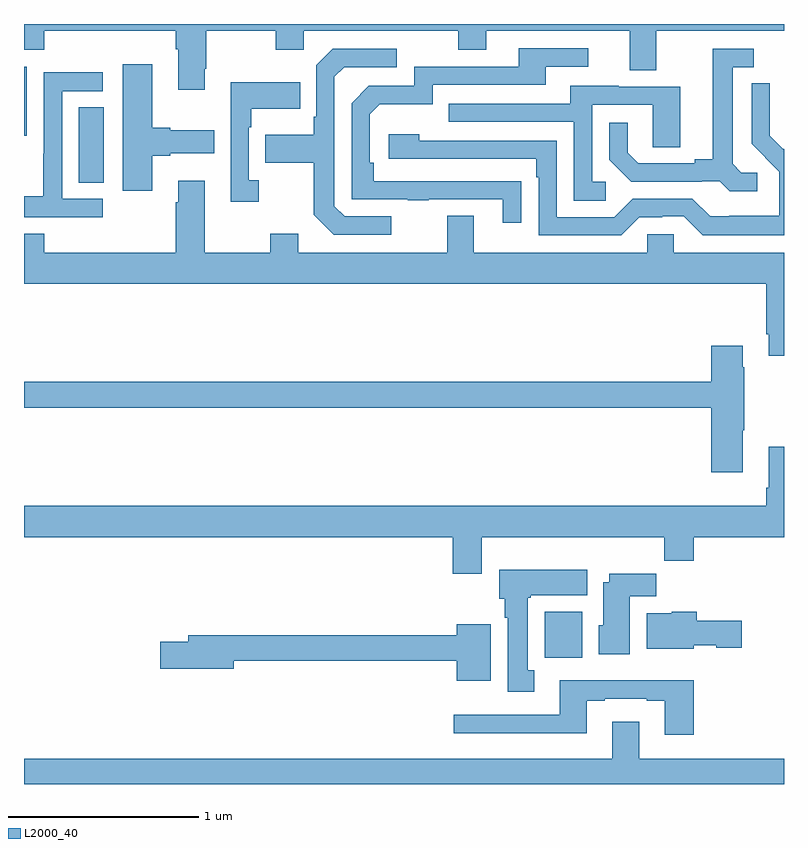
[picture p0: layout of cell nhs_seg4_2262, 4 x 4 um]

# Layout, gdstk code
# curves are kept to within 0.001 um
import gdstk
lib = gdstk.Library(unit=1e-6, precision=1e-09)
def R(c, l, rs):  # rectangles x0, y0, x1, y1
    for r in rs: c.add(gdstk.rectangle(r[:2], r[2:], *l))
def P(c, l, *ps):  # polygons
    for p in ps: c.add(gdstk.Polygon(p, *l))
L2000_40 = (2000, 40)

nhs_seg4_2262 = lib.new_cell('nhs_seg4_2262')
R(nhs_seg4_2262, L2000_40, [(231.74,749.564,231.937,749.806), (229.289,752.065,229.42,752.462), (229,752.313,229.015,752.674)])
P(nhs_seg4_2262, L2000_40, [(229.951,752.665),(229.959,752.665),(229.959,752.864),(230.326,752.864),(230.326,752.765),(230.472,752.765),(230.472,752.864),(231.286,752.864),(231.286,752.765),(231.433,752.765),(231.433,752.864),(232.187,752.864),(232.187,752.656),(232.327,752.656),(232.327,752.864),(233,752.864),(233,752.9),(229,752.9),(229,752.765),(229.106,752.765),(229.106,752.864),(229.799,752.864),(229.799,752.768),(229.811,752.768),(229.811,752.553),(229.951,752.553)],
  [(231.617,752.072),(230.84,752.073),(230.84,752.17),(230.82,752.17),(230.82,752.424),(230.873,752.477),(231.15,752.477),(231.15,752.58),(231.745,752.58),(231.745,752.676),(231.97,752.676),(231.97,752.772),(231.605,752.772),(231.605,752.676),(231.054,752.676),(231.054,752.574),(230.814,752.574),(230.724,752.484),(230.724,751.977),(231.019,751.977),(231.019,751.972),(231.131,751.972),(231.131,751.977),(231.521,751.977),(231.521,751.854),(231.617,751.854)],
  [(230.932,751.887),(230.688,751.887),(230.634,751.941),(230.634,752.622),(230.685,752.673),(230.962,752.673),(230.962,752.769),(230.625,752.769),(230.538,752.682),(230.538,752.413),(230.526,752.413),(230.526,752.317),(230.269,752.317),(230.269,752.17),(230.526,752.17),(230.526,751.897),(230.631,751.791),(230.932,751.791)],
  [(232.858,752.118),(232.776,752.118),(232.729,752.165),(232.729,752.673),(232.84,752.673),(232.84,752.769),(232.625,752.769),(232.625,752.189),(232.529,752.189),(232.529,752.166),(232.234,752.166),(232.177,752.223),(232.177,752.38),(232.08,752.38),(232.08,752.186),(232.196,752.07),(232.568,752.07),(232.568,752.073),(232.662,752.073),(232.714,752.021),(232.858,752.021)],
  [(229.675,752.207),(229.771,752.207),(229.771,752.219),(230.002,752.219),(230.002,752.341),(229.771,752.341),(229.771,752.354),(229.675,752.354),(229.675,752.689),(229.52,752.689),(229.52,752.022),(229.675,752.022)],
  [(229.414,751.98),(229.2,751.98),(229.2,752.547),(229.414,752.547),(229.414,752.646),(229.104,752.646),(229.104,752.216),(229.102,752.216),(229.102,751.993),(229,751.993),(229,751.884),(229.414,751.884)],
  [(230.236,752.078),(230.184,752.078),(230.184,752.357),(230.197,752.357),(230.197,752.453),(230.453,752.453),(230.453,752.593),(230.088,752.593),(230.088,751.965),(230.236,751.965)],
  [(233,752.242),(232.998,752.244),(232.995,752.241),(232.925,752.312),(232.926,752.588),(232.83,752.588),(232.83,752.27),(232.976,752.122),(232.976,752.025),(232.974,752.025),(232.974,751.891),(232.711,751.891),(232.711,751.887),(232.611,751.887),(232.518,751.98),(232.203,751.98),(232.107,751.884),(231.804,751.884),(231.804,752.286),(231.08,752.286),(231.08,752.32),(230.919,752.32),(230.919,752.19),(231.695,752.19),(231.695,752.093),(231.708,752.093),(231.708,751.788),(232.143,751.788),(232.239,751.884),(232.358,751.884),(232.358,751.887),(232.473,751.887),(232.573,751.787),(233,751.787)],
  [(232.063,752.07),(231.99,752.07),(231.99,752.475),(232.308,752.475),(232.308,752.251),(232.453,752.251),(232.453,752.571),(232.129,752.571),(232.129,752.575),(231.875,752.575),(231.875,752.481),(231.235,752.481),(231.235,752.385),(231.894,752.385),(231.894,751.969),(232.063,751.969)],
  [(233,751.696),(232.419,751.696),(232.419,751.794),(232.281,751.794),(232.281,751.696),(231.367,751.696),(231.367,751.891),(231.227,751.891),(231.227,751.696),(230.443,751.696),(230.443,751.795),(230.296,751.795),(230.296,751.696),(229.951,751.696),(229.951,752.074),(229.811,752.074),(229.811,751.961),(229.799,751.961),(229.799,751.696),(229.106,751.696),(229.106,751.795),(229,751.795),(229,751.532),(232.907,751.532),(232.907,751.267),(232.919,751.267),(232.919,751.155),(233,751.155)],
  [(232.783,750.763),(232.791,750.763),(232.791,751.094),(232.783,751.094),(232.783,751.207),(232.616,751.207),(232.616,751.016),(229,751.016),(229,750.88),(232.616,750.88),(232.616,750.54),(232.783,750.54)],
  [(231.409,750.2),(232.369,750.2),(232.369,750.076),(232.526,750.076),(232.526,750.2),(233,750.2),(233,750.676),(232.919,750.676),(232.919,750.46),(232.907,750.46),(232.907,750.364),(229,750.364),(229,750.2),(231.257,750.2),(231.257,750.006),(231.409,750.006)],
  [(231.685,749.498),(231.652,749.498),(231.652,749.881),(231.666,749.881),(231.666,749.894),(231.964,749.894),(231.964,750.028),(231.5,750.028),(231.5,749.874),(231.53,749.874),(231.53,749.774),(231.545,749.774),(231.545,749.385),(231.685,749.385)],
  [(232.189,749.888),(232.328,749.888),(232.328,750.007),(232.079,750.007),(232.079,749.962),(232.049,749.962),(232.049,749.736),(232.025,749.736),(232.025,749.582),(232.189,749.582)],
  [(232.524,749.63),(232.644,749.63),(232.644,749.618),(232.777,749.618),(232.777,749.76),(232.541,749.76),(232.541,749.806),(232.41,749.806),(232.41,749.8),(232.277,749.8),(232.277,749.612),(232.524,749.612)],
  [(231.457,749.74),(231.278,749.74),(231.278,749.684),(229.865,749.684),(229.865,749.648),(229.716,749.648),(229.716,749.506),(230.104,749.506),(230.104,749.548),(231.278,749.548),(231.278,749.444),(231.457,749.444)],
  [(232.526,749.446),(231.821,749.446),(231.821,749.265),(231.261,749.265),(231.261,749.168),(231.961,749.168),(231.961,749.337),(232.057,749.337),(232.057,749.349),(232.277,749.349),(232.277,749.337),(232.373,749.337),(232.373,749.16),(232.526,749.16)],
  [(233,749.032),(232.237,749.032),(232.237,749.227),(232.097,749.227),(232.097,749.032),(229,749.032),(229,748.9),(233,748.9)])

lib.write_gds('nhs_seg4_2262.gds')
